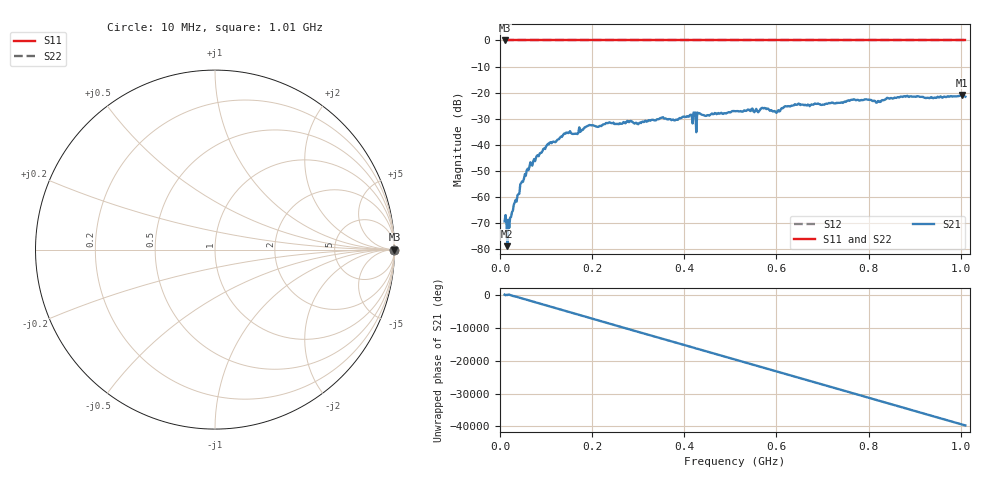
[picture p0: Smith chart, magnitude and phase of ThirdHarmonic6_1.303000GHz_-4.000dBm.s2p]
! 8/16/2025 2:20:49 PM
! C:\ANRITSUVNA\TEMP\TEMP.S2P
! CHANNEL.1
! TR.MEASUREMENT
! RAW.DATA
! RF.CORRECTION.OFF
! AVERAGING.OFF
! IF.BANDWIDTH: 5KHZ
! SWEEPTYPE:  FREQ.SWEEP(Linear)
! Reference Plane Port Info
! PORT:  PORT1  PORT2
! DISTANCE:  0  m  0  m
! TIME:  0  s  0  s
! PHASE.OFFSET:  0  deg.  0  deg.
! LOSS:  0  dB  0  dB
! REF.LOSS:  0  dB  0  dB
! REF.FREQ:  0  Hz  0  Hz
! Power Info
! POWER:  -20  dBm  -20  dBm
! EFF.POWER:  -20  dBm  -20  dBm
! SOURCE.ATTEN:  0  dB  0  dB
! TEST.ATTEN:  0  dB  0  dB
# GHZ S RI R 50.0
! FREQ.GHZ  S11RE  S11IM  S21RE  S21IM  S12RE  S12IM  S22RE  S22IM
!; PortSelection: Port_12
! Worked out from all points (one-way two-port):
!   501 points, 10 MHz to 1.01 GHz, reference 50 ohm
!   highest |S21| = -20.94 dB at 1.002 GHz (marker M1); lowest = -78.9 dB at 16 MHz (marker M2)
!   lowest |S11| = 0.0 dB at 10 MHz (marker M3)
!   |S11| at or under -10 dB: nowhere
!   |S22| runs from 0.0 to 0.0 dB; largest |S21 - S12| = 1.1
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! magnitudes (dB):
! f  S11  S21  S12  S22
! 10 MHz  0.0  -69.4  0.0  0.0
! 16 MHz  0.0  -78.9  0.0  0.0
! 20 MHz  0.0  -71.8  0.0  0.0
! 30 MHz  0.0  -62.9  0.0  0.0
! 48 MHz  0.0  -54.0  0.0  0.0
! 70 MHz  0.0  -48.0  0.0  0.0
! 106 MHz  0.0  -39.8  0.0  0.0
! 142 MHz  0.0  -35.7  0.0  0.0
! 178 MHz  0.0  -34.3  0.0  0.0
! 196 MHz  0.0  -32.5  0.0  0.0
! 344 MHz  0.0  -30.2  0.0  0.0
! 420 MHz  0.0  -27.6  0.0  0.0
! 422 MHz  0.0  -27.7  0.0  0.0
! 432 MHz  0.0  -27.8  0.0  0.0
! 510 MHz  0.0  -27.1  0.0  0.0
! 572 MHz  0.0  -26.0  0.0  0.0
! 602 MHz  0.0  -27.1  0.0  0.0
! 622 MHz  0.0  -25.3  0.0  0.0
! 678 MHz  0.0  -24.6  0.0  0.0
! 844 MHz  0.0  -22.3  0.0  0.0
! 1.002 GHz  0.0  -20.9  0.0  0.0
! 1.01 GHz  0.0  -21.6  0.0  0.0
